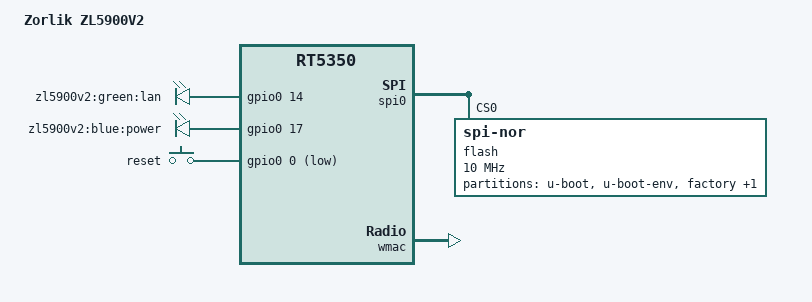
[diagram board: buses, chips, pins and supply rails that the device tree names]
/dts-v1/;

#include "rt5350.dtsi"

#include <dt-bindings/gpio/gpio.h>
#include <dt-bindings/input/input.h>

/ {
	compatible = "zorlik,zl5900v2", "ralink,rt5350-soc";
	model = "Zorlik ZL5900V2";

	aliases {
		led-boot = &led_power;
		led-failsafe = &led_power;
		led-running = &led_power;
		led-upgrade = &led_power;
	};

	leds {
		compatible = "gpio-leds";

		lan {
			label = "zl5900v2:green:lan";
			gpios = <&gpio0 14 GPIO_ACTIVE_HIGH>;
		};

		led_power: power {
			label = "zl5900v2:blue:power";
			gpios = <&gpio0 17 GPIO_ACTIVE_HIGH>;
		};
	};

	keys {
		compatible = "gpio-keys-polled";
		poll-interval = <20>;

		reset {
			label = "reset";
			gpios = <&gpio0 0 GPIO_ACTIVE_LOW>;
			linux,code = <KEY_RESTART>;
		};
	};
};

&spi0 {
	status = "okay";

	flash@0 {
		compatible = "jedec,spi-nor";
		reg = <0>;
		spi-max-frequency = <10000000>;

		partitions {
			compatible = "fixed-partitions";
			#address-cells = <1>;
			#size-cells = <1>;

			partition@0 {
				label = "u-boot";
				reg = <0x0 0x30000>;
				read-only;
			};

			partition@30000 {
				label = "u-boot-env";
				reg = <0x30000 0x10000>;
				read-only;
			};

			factory: partition@40000 {
				label = "factory";
				reg = <0x40000 0x10000>;
				read-only;
			};

			partition@50000 {
				compatible = "denx,uimage";
				label = "firmware";
				reg = <0x50000 0x7b0000>;
			};
		};
	};
};

&state_default {
	gpio {
		groups = "jtag", "uartf";
		function = "gpio";
	};
};

&ethernet {
	mtd-mac-address = <&factory 0x4>;
};

&esw {
	mediatek,portdisable = <0x2f>;
};

&wmac {
	ralink,mtd-eeprom = <&factory 0x0>;
};
